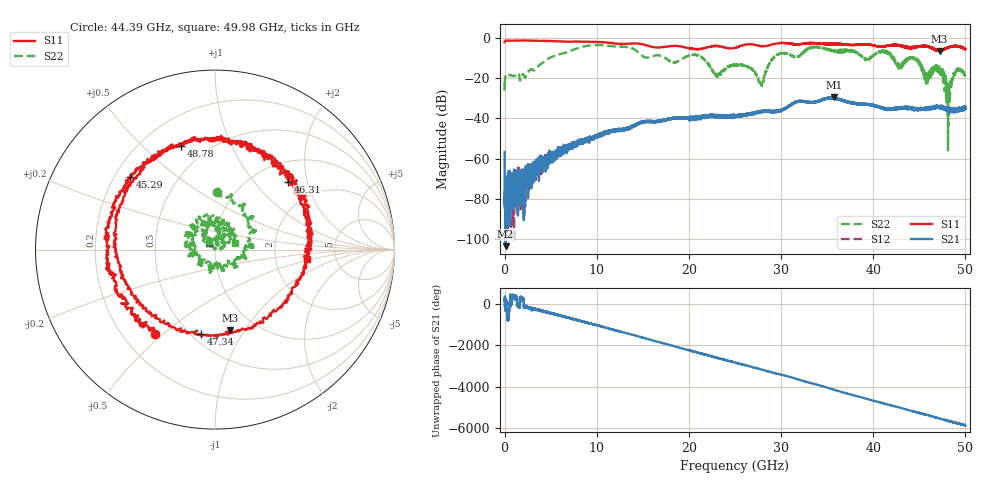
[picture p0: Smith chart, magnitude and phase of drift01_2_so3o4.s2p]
!Created with skrf (http://scikit-rf.org).
# Hz S RI R 50.0
!freq ReS11 ImS11 ReS21 ImS21 ReS12 ImS12 ReS22 ImS22
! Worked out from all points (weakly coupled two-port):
!   10001 points, 300 kHz to 50 GHz, reference 50 ohm
!   highest |S21| = -29.53 dB at 35.76 GHz (marker M1); lowest = -103.4 dB at 100.3 MHz (marker M2)
!   lowest |S11| = -6.8 dB at 47.2 GHz (marker M3), VSWR 2.68, Z = 38.1 - j43.1 ohm
!   |S11| at or under -10 dB: nowhere
!   |S22| runs from -55.9 to -3.6 dB; largest |S21 - S12| = 0.0036
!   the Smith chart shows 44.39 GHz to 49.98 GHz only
!   S11 on the Smith chart (normalised r, x): 44.39 GHz: 0.33, -0.47; 45.29 GHz: 0.26, +0.35; 46.31 GHz: 1.40, +1.54; 47.34 GHz: 0.56, -0.68; 48.78 GHz: 0.36, +0.66; 49.98 GHz: 3.08, -0.43
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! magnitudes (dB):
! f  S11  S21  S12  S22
! 300 kHz  -2.1  -56.7  -78.9  -22.2
! 100.3 MHz  -1.5  -103.4  -76.6  -18.7
! 1.885 GHz  -1.4  -75.8  -66.6  -18.6
! 8.335 GHz  -2.0  -52.2  -52.4  -4.6
! 16.67 GHz  -4.9  -41.6  -41.5  -8.7
! 20.96 GHz  -5.6  -40.0  -39.6  -8.7
! 23.07 GHz  -4.1  -38.4  -38.4  -18.5
! 25 GHz  -5.0  -38.9  -39.0  -13.5
! 27.83 GHz  -4.2  -36.8  -36.5  -22.5
! 29.46 GHz  -2.9  -36.6  -36.4  -8.8
! 33.34 GHz  -2.6  -32.2  -32.1  -4.8
! 35.76 GHz  -3.0  -29.5  -30.0  -6.7
! 41.67 GHz  -3.9  -35.6  -35.7  -7.7
! 44.39 GHz  -4.8  -35.3  -35.3  -9.9
! 45.29 GHz  -4.1  -35.7  -35.3  -15.8
! 46.31 GHz  -5.1  -34.6  -34.6  -16.2
! 47.2 GHz  -6.8  -34.7  -34.5  -15.7
! 47.34 GHz  -6.4  -34.2  -34.1  -14.9
! 48.13 GHz  -4.9  -35.5  -35.3  -34.8
! 48.78 GHz  -4.3  -35.3  -35.8  -18.7
! 49.98 GHz  -5.7  -33.9  -35.0  -18.5
! 50 GHz  -5.7  -35.2  -34.8  -18.6
